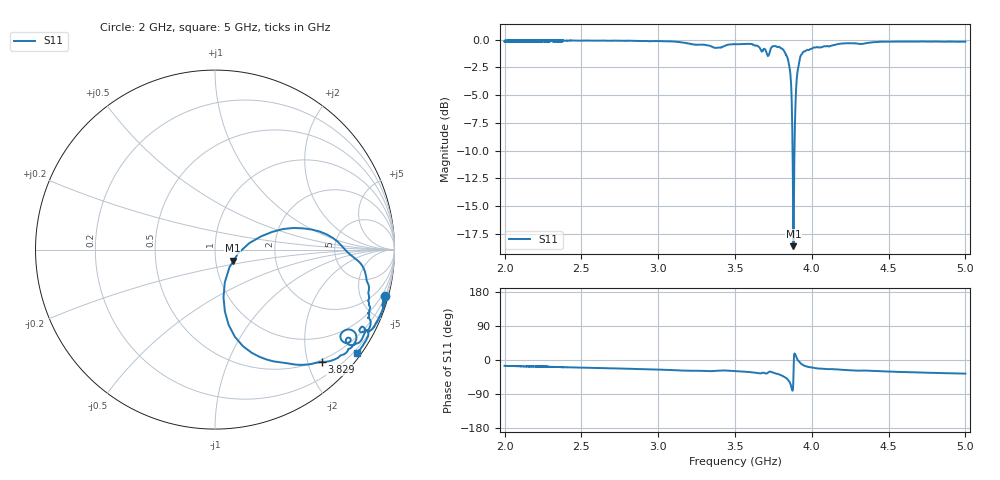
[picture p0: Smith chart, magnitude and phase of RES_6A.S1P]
!Agilent Technologies,E5071C,MY46214220,A.11.31
!Date: Fri Sep 22 10:12:18 2017
!Data & Calibration Information:
!Freq	S11:SOLT1(ON)
!PortZ  Port1:50+j0
!Above PortZ is port z conversion or system Z0 setting when saving the data.
!When reading, reference impedance value at option line is always used.
# Hz S dB R 50
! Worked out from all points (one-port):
!   20000 points, 2 GHz to 5 GHz, reference 50 ohm
!   lowest |S11| = -18.6 dB at 3.881 GHz (marker M1), VSWR 1.27, Z = 60.6 - j7.49 ohm
!   |S11| at or under -10 dB: 3.87486 GHz to 3.88714 GHz (12.28 MHz wide, 0.316 % of centre)
!   S11 on the Smith chart (normalised r, x): 2 GHz: 0.46, -7.37; 3.829 GHz: 0.46, -2.25; 5 GHz: 0.10, -3.08
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2e9  -0.14 -15.4
2.375019e9  -0.07 -18.9
2.750038e9  -0.08 -22.5
3.125056e9  -0.19 -27.2
3.363718e9  -0.71 -29.2
3.500075e9  -0.40 -29.2
3.651433e9  -0.59 -34.7
3.707985e9  -1.27 -35.5
3.726586e9  -1.09 -30.5
3.749237e9  -0.58 -33.5
3.79574e9  -0.72 -39.6
3.829341e9  -1.28 -46.5
3.845692e9  -1.81 -52.2
3.857393e9  -2.70 -59.3
3.862343e9  -3.36 -64.6
3.867443e9  -4.72 -72.6
3.875094e9  -10.26 -80.7
3.880794e9  -18.62 -31.4
3.889944e9  -7.81 16.6
3.897145e9  -4.64 10.1
3.903445e9  -3.27 3.6
3.912596e9  -2.44 -2.2
3.934797e9  -1.30 -11.3
3.965098e9  -0.95 -16.9
4.028101e9  -0.69 -21.6
4.250113e9  -0.31 -27.1
4.625131e9  -0.16 -32.0
5e9  -0.17 -36.0
